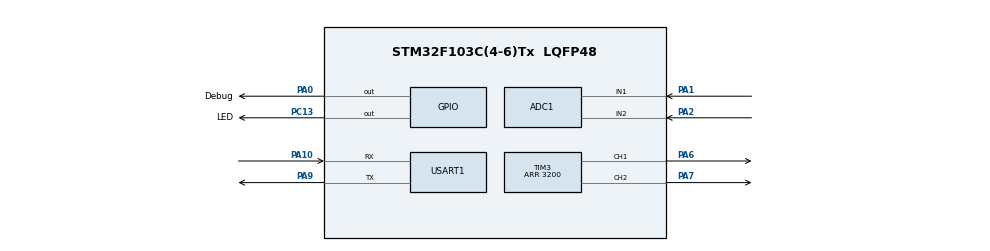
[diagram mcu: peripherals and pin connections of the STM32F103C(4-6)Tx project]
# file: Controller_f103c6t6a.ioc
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ADC1.Channel-3\#ChannelRegularConversion=ADC_CHANNEL_1
ADC1.Channel-4\#ChannelInjectedConversion=ADC_CHANNEL_1
ADC1.Channel-5\#ChannelInjectedConversion=ADC_CHANNEL_2
ADC1.EnableInjectedConversion=ENABLE
ADC1.EnableRegularConversion=ENABLE
ADC1.ExternalTrigConv=ADC_EXTERNALTRIGCONV_T3_TRGO
ADC1.InjNumberOfConversion=2
ADC1.InjectedConvMode=AutoInjected
ADC1.InjectedOffset-4\#ChannelInjectedConversion=0
ADC1.InjectedOffset-5\#ChannelInjectedConversion=0
ADC1.InjectedRank-4\#ChannelInjectedConversion=1
ADC1.InjectedRank-5\#ChannelInjectedConversion=2
ADC1.NbrOfConversion=1
ADC1.NbrOfConversionFlag=1
ADC1.Rank-3\#ChannelRegularConversion=1
ADC1.SamplingTime-3\#ChannelRegularConversion=ADC_SAMPLETIME_1CYCLE_5
ADC1.SamplingTime-4\#ChannelInjectedConversion=ADC_SAMPLETIME_1CYCLE_5
ADC1.SamplingTime-5\#ChannelInjectedConversion=ADC_SAMPLETIME_1CYCLE_5
ADC1.master=1
Mcu.Family=STM32F1
Mcu.Name=STM32F103C(4-6)Tx
Mcu.Package=LQFP48
NVIC.PriorityGroup=NVIC_PRIORITYGROUP_4
NVIC.TIM3_IRQn=true\:2\:0\:true\:false\:true\:true\:true\:true
NVIC.USART1_IRQn=true\:7\:0\:true\:false\:true\:true\:true\:true
PA0-WKUP.GPIO_Label=Debug
PA0-WKUP.Signal=GPIO_Output
PA1.Signal=ADCx_IN1
PA10.Mode=Asynchronous
PA10.Signal=USART1_RX
PA13.Mode=Serial_Wire
PA13.Signal=SYS_JTMS-SWDIO
PA14.Mode=Serial_Wire
PA14.Signal=SYS_JTCK-SWCLK
PA2.Signal=ADCx_IN2
PA6.Signal=S_TIM3_CH1
PA7.Signal=S_TIM3_CH2
PA9.Mode=Asynchronous
PA9.Signal=USART1_TX
PC13-TAMPER-RTC.GPIO_Label=LED
PC13-TAMPER-RTC.PinState=GPIO_PIN_RESET
PC13-TAMPER-RTC.Signal=GPIO_Output
PD0-OSC_IN.Mode=HSE-External-Oscillator
PD0-OSC_IN.Signal=RCC_OSC_IN
PD1-OSC_OUT.Mode=HSE-External-Oscillator
PD1-OSC_OUT.Signal=RCC_OSC_OUT
ProjectManager.HeapSize=0x200
ProjectManager.StackSize=0x400
ProjectManager.TargetToolchain=STM32CubeIDE
RCC.ADCPresc=RCC_ADCPCLK2_DIV8
RCC.AHBFreq_Value=64000000
RCC.APB1CLKDivider=RCC_HCLK_DIV2
RCC.APB1Freq_Value=32000000
RCC.APB1TimFreq_Value=64000000
RCC.APB2Freq_Value=64000000
RCC.APB2TimFreq_Value=64000000
RCC.HCLKFreq_Value=64000000
RCC.PLLMUL=RCC_PLL_MUL8
RCC.PLLSourceVirtual=RCC_PLLSOURCE_HSE
RCC.SYSCLKFreq_VALUE=64000000
RCC.SYSCLKSource=RCC_SYSCLKSOURCE_PLLCLK
RCC.USBFreq_Value=64000000
SH.ADCx_IN1.0=ADC1_IN1,IN1
SH.ADCx_IN2.0=ADC1_IN2,IN2
SH.S_TIM3_CH1.0=TIM3_CH1,PWM Generation1 CH1
SH.S_TIM3_CH2.0=TIM3_CH2,PWM Generation2 CH2
TIM3.Channel-PWM\ Generation1\ CH1=TIM_CHANNEL_1
TIM3.Channel-PWM\ Generation2\ CH2=TIM_CHANNEL_2
TIM3.OCMode_PWM-PWM\ Generation1\ CH1=TIM_OCMODE_PWM1
TIM3.OCMode_PWM-PWM\ Generation2\ CH2=TIM_OCMODE_PWM1
TIM3.Period=3200
TIM3.Pulse-PWM\ Generation1\ CH1=0
TIM3.TIM_MasterOutputTrigger=TIM_TRGO_UPDATE
USART1.VirtualMode=VM_ASYNC
VP_TIM3_VS_ClockSourceINT.Mode=Internal
board=custom

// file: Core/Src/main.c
/* USER CODE BEGIN Header */
/**
  ******************************************************************************
  * @file           : main.c
  * @brief          : Main program body
  ******************************************************************************
  * @attention
  *
  * Copyright (c) 2026 STMicroelectronics.
  * All rights reserved.
  *
  * This software is licensed under terms that can be found in the LICENSE file
  * in the root directory of this software component.
  * If no LICENSE file comes with this software, it is provided AS-IS.
  *
  ******************************************************************************
  */
/* USER CODE END Header */
#include "main.h"

/* USER CODE BEGIN Includes */
#include <stdint.h>
#include <string.h>
#include <stdlib.h>
/* USER CODE END Includes */

UART_HandleTypeDef huart1;

/* USER CODE BEGIN PV */
pulse_t pulse_data;
control_t control_data;
/* USER CODE END PV */

void SystemClock_Config(void);
static void MX_GPIO_Init(void);
static void MX_USART1_UART_Init(void);
static void MX_TIM3_Init(void);
static void MX_ADC1_Init(void);

/* USER CODE BEGIN 0 */
static void uart_print(UART_HandleTypeDef *huart, uint8_t *pData, uint16_t Size){
	HAL_UART_Transmit_IT(huart, pData, Size);
	//Wait until complete, as HAL_UART_Transmit_IT doesn't seem to copy the pData contents
	while(   HAL_UART_GetState(huart) != HAL_UART_STATE_READY ){
	}
}

static void uart_printstr(UART_HandleTypeDef *huart, char *str){
	size_t len;
	len = strlen(str);
	uart_print(huart, (uint8_t*)str, len);
}

void main_ctrl(void){

	//*** Generate output pulse ***
	if(pulse_data.state==ssi_state_idle){
		if(pulse_data.start){
			pulse_data.remain = pulse_data.len;
			pulse_data.state=ssi_state_run;
		}

	}
	else if(pulse_data.state==ssi_state_run){
		if(pulse_data.remain > 3200){
			LL_TIM_OC_SetCompareCH1(TIM3, 3201);
			pulse_data.remain -= 3200;
		}
		else {
			LL_TIM_OC_SetCompareCH1(TIM3, pulse_data.remain);
			pulse_data.remain = 0;
			pulse_data.state=ssi_state_ready;
		}
	}
	else if(pulse_data.state==ssi_state_ready){
		LL_TIM_OC_SetCompareCH1(TIM3, 0);
		pulse_data.start = 0;
		pulse_data.state = ssi_state_idle;
	}

	// *** Set v_Ref PWM duty cycle ***
	LL_TIM_OC_SetCompareCH2(TIM3, control_data.pwm_vref);

	uint16_t adc_timeout = 0;
	//currently no regular conversion used
	//regular conversion is only enabled because injected conversion is auto-triggered
	//at end of regular conversions
	//while(!LL_ADC_IsActiveFlag_EOS(ADC1)){
	//	//Error after certain time, if adc will not get ready!, stop PWM!
	//	if (adc_timeout >= 10) {
	//		//ERROR!!
	//	}
	//	else {
	//		adc_timeout++;
	//	}
	//}
	//get ADC value and switch to next channel
	//if(control_data.adc_ch == 0){
	//	value = (int16_t) LL_ADC_REG_ReadConversionData12(ADC1);
	//	LL_ADC_REG_SetSequencerRanks(ADC1, LL_ADC_REG_RANK_1, LL_ADC_CHANNEL_2);
	//	control_data.adc_ch = 1;
	//}
	//else {
	//	value = (int16_t) LL_ADC_REG_ReadConversionData12(ADC1);
	//	LL_ADC_REG_SetSequencerRanks(ADC1, LL_ADC_REG_RANK_1, LL_ADC_CHANNEL_1);
	//	control_data.adc_ch = 0;
	//}

	while(!LL_ADC_IsActiveFlag_JEOS(ADC1)){
		//Error after certain time, if adc will not get ready!, stop PWM!
		if (adc_timeout >= 10) {
			//ERROR!!
		}
		else {
			adc_timeout++;
		}
	}
	control_data.adc_data_v0 = (int16_t) LL_ADC_INJ_ReadConversionData12(ADC1, LL_ADC_INJ_RANK_1);
	control_data.adc_data_v1 = (int16_t) LL_ADC_INJ_ReadConversionData12(ADC1, LL_ADC_INJ_RANK_2);
}

/* USER CODE END 0 */

int main(void)
{

  /* MCU Configuration--------------------------------------------------------*/

  /* Reset of all peripherals, Initializes the Flash interface and the Systick. */
  HAL_Init();

  /* Configure the system clock */
  SystemClock_Config();

  /* Initialize all configured peripherals */
  MX_GPIO_Init();
  MX_USART1_UART_Init();
  MX_TIM3_Init();
  MX_ADC1_Init();
  /* USER CODE BEGIN 2 */

  uart_printstr(&huart1, "Marble Accelerator Interface\r\n");
  uart_printstr(&huart1, "MT-Labor, IEM, THM 2026\r\n");
  //int encpos = -100;

  pulse_data.state = ssi_state_idle;

  control_data.vCapRef = 24.5f;  //V
  control_data.vCapTol = 0.5f;   //V
  control_data.pulseLen = 10.0f; //ms
  control_data.pulseRep = 10.0f;  //s
  control_data.voltok = 2.0f;     //s
  control_data.active = 1;

  LL_ADC_Enable(ADC1);
  LL_ADC_REG_StartConversionExtTrig(ADC1, LL_ADC_REG_TRIG_EXT_RISING);

  LL_TIM_EnableCounter(TIM3);
  LL_TIM_CC_EnableChannel(TIM3, LL_TIM_CHANNEL_CH1);
  LL_TIM_CC_EnableChannel(TIM3, LL_TIM_CHANNEL_CH2);
  LL_TIM_EnableIT_UPDATE(TIM3);

  /* USER CODE END 2 */

  /* Infinite loop */
  while (1)
  {

    /* USER CODE BEGIN 3 */

	  control_data.pwm_vref = (4096.0f/3.3f) * (1.563f - 0.0625f*control_data.vCapRef);
	  control_data.vCap = control_data.adc_data_v0*(3.3f/4096.0f)*10.1f  * 1.027;  //1.027 is adjustment factor

	  uint32_t puls_len_pwm = control_data.pulseLen*(3200.0f*20.0f);
	  if(puls_len_pwm > 3200*20*100) puls_len_pwm = 3200*20*100;
	  pulse_data.len = puls_len_pwm;

	  LL_GPIO_SetOutputPin(LED_GPIO_Port, LED_Pin);
	  LL_mDelay(80);
	  LL_GPIO_ResetOutputPin(LED_GPIO_Port, LED_Pin);
	  LL_mDelay(20);

	  float pulsrepcycle = control_data.pulseRep*10.0f;
	  float voltokcycle = control_data.voltok*10.0f;
	  if (pulsrepcycle < 5.0f) pulsrepcycle =  5.0f;    //min 0.5
	  if (pulsrepcycle > 1000.0f) pulsrepcycle = 1000.0f; //max 100s

	  if(control_data.rep_cnt > pulsrepcycle) control_data.rep_cnt = pulsrepcycle;

	  if( (control_data.vCap < (control_data.vCapRef-control_data.vCapTol)) || (control_data.vCap > (control_data.vCapRef+control_data.vCapTol)) ){
		  if(control_data.rep_cnt < voltokcycle){
			  control_data.rep_cnt=voltokcycle;
		  }
	  }

	  if(control_data.rep_cnt > 0){
		  control_data.rep_cnt--;
	  }
	  else{
		  if (control_data.active){
			  pulse_data.start = 1;
			  control_data.rep_cnt = pulsrepcycle;
		  }
	  }

	  char sval[10];
	  itoa(control_data.adc_data_v0, sval, 10); //Base 10 (dec)  //dummy data
	  //itoa(encpos, sval, 16); //Base 16 (hex)
	  //todo leading zeros:
	  //Let itoa() convert
	  //into a temporary buffer, determine the difference between
	  //your target space and strlen(buffer), fill that amount of
	  //zeros into the target space, and then strcpy the buffer
	  //over to target space.

	  uart_printstr(&huart1, sval);
	  uart_printstr(&huart1, "\r\n");

	  //encpos++;
  }
  /* USER CODE END 3 */
}

void SystemClock_Config(void)
{
  LL_FLASH_SetLatency(LL_FLASH_LATENCY_2);
  while(LL_FLASH_GetLatency()!= LL_FLASH_LATENCY_2)
  {
  }
  LL_RCC_HSE_Enable();

   /* Wait till HSE is ready */
  while(LL_RCC_HSE_IsReady() != 1)
  {

  }
  LL_RCC_PLL_ConfigDomain_SYS(LL_RCC_PLLSOURCE_HSE_DIV_1, LL_RCC_PLL_MUL_8);
  LL_RCC_PLL_Enable();

   /* Wait till PLL is ready */
  while(LL_RCC_PLL_IsReady() != 1)
  {

  }
  LL_RCC_SetAHBPrescaler(LL_RCC_SYSCLK_DIV_1);
  LL_RCC_SetAPB1Prescaler(LL_RCC_APB1_DIV_2);
  LL_RCC_SetAPB2Prescaler(LL_RCC_APB2_DIV_1);
  LL_RCC_SetSysClkSource(LL_RCC_SYS_CLKSOURCE_PLL);

   /* Wait till System clock is ready */
  while(LL_RCC_GetSysClkSource() != LL_RCC_SYS_CLKSOURCE_STATUS_PLL)
  {

  }
  LL_SetSystemCoreClock(64000000);

   /* Update the time base */
  if (HAL_InitTick (TICK_INT_PRIORITY) != HAL_OK)
  {
    Error_Handler();
  }
  LL_RCC_SetADCClockSource(LL_RCC_ADC_CLKSRC_PCLK2_DIV_8);
}

static void MX_ADC1_Init(void)
{

  LL_ADC_InitTypeDef ADC_InitStruct = {0};
  LL_ADC_CommonInitTypeDef ADC_CommonInitStruct = {0};
  LL_ADC_REG_InitTypeDef ADC_REG_InitStruct = {0};
  LL_ADC_INJ_InitTypeDef ADC_INJ_InitStruct = {0};

  LL_GPIO_InitTypeDef GPIO_InitStruct = {0};

  /* Peripheral clock enable */
  LL_APB2_GRP1_EnableClock(LL_APB2_GRP1_PERIPH_ADC1);

  LL_APB2_GRP1_EnableClock(LL_APB2_GRP1_PERIPH_GPIOA);
  /**ADC1 GPIO Configuration
  PA1   ------> ADC1_IN1
  PA2   ------> ADC1_IN2
  */
  GPIO_InitStruct.Pin = LL_GPIO_PIN_1|LL_GPIO_PIN_2;
  GPIO_InitStruct.Mode = LL_GPIO_MODE_ANALOG;
  LL_GPIO_Init(GPIOA, &GPIO_InitStruct);

  /** Common config
  */
  ADC_InitStruct.DataAlignment = LL_ADC_DATA_ALIGN_RIGHT;
  ADC_InitStruct.SequencersScanMode = LL_ADC_SEQ_SCAN_ENABLE;
  LL_ADC_Init(ADC1, &ADC_InitStruct);
  ADC_CommonInitStruct.Multimode = LL_ADC_MULTI_INDEPENDENT;
  LL_ADC_CommonInit(__LL_ADC_COMMON_INSTANCE(ADC1), &ADC_CommonInitStruct);
  ADC_REG_InitStruct.TriggerSource = LL_ADC_REG_TRIG_EXT_TIM3_TRGO;
  ADC_REG_InitStruct.SequencerLength = LL_ADC_REG_SEQ_SCAN_DISABLE;
  ADC_REG_InitStruct.SequencerDiscont = LL_ADC_REG_SEQ_DISCONT_DISABLE;
  ADC_REG_InitStruct.ContinuousMode = LL_ADC_REG_CONV_SINGLE;
  ADC_REG_InitStruct.DMATransfer = LL_ADC_REG_DMA_TRANSFER_NONE;
  LL_ADC_REG_Init(ADC1, &ADC_REG_InitStruct);
  ADC_INJ_InitStruct.TriggerSource = LL_ADC_INJ_TRIG_SOFTWARE;
  ADC_INJ_InitStruct.SequencerLength = LL_ADC_INJ_SEQ_SCAN_ENABLE_2RANKS;
  ADC_INJ_InitStruct.SequencerDiscont = LL_ADC_INJ_SEQ_DISCONT_DISABLE;
  ADC_INJ_InitStruct.TrigAuto = LL_ADC_INJ_TRIG_FROM_GRP_REGULAR;
  LL_ADC_INJ_Init(ADC1, &ADC_INJ_InitStruct);

  /** Configure Regular Channel
  */
  LL_ADC_REG_SetSequencerRanks(ADC1, LL_ADC_REG_RANK_1, LL_ADC_CHANNEL_1);
  LL_ADC_SetChannelSamplingTime(ADC1, LL_ADC_CHANNEL_1, LL_ADC_SAMPLINGTIME_1CYCLE_5);

  /** Configure Injected Channel
  */
  LL_ADC_INJ_SetSequencerRanks(ADC1, LL_ADC_INJ_RANK_1, LL_ADC_CHANNEL_1);
  LL_ADC_SetChannelSamplingTime(ADC1, LL_ADC_CHANNEL_1, LL_ADC_SAMPLINGTIME_1CYCLE_5);
  LL_ADC_INJ_SetOffset(ADC1, LL_ADC_INJ_RANK_1, 0);

  /** Configure Injected Channel
  */
  LL_ADC_INJ_SetSequencerRanks(ADC1, LL_ADC_INJ_RANK_2, LL_ADC_CHANNEL_2);
  LL_ADC_SetChannelSamplingTime(ADC1, LL_ADC_CHANNEL_2, LL_ADC_SAMPLINGTIME_1CYCLE_5);
  LL_ADC_INJ_SetOffset(ADC1, LL_ADC_INJ_RANK_2, 0);

}

static void MX_TIM3_Init(void)
{

  LL_TIM_InitTypeDef TIM_InitStruct = {0};
  LL_TIM_OC_InitTypeDef TIM_OC_InitStruct = {0};

  LL_GPIO_InitTypeDef GPIO_InitStruct = {0};

  /* Peripheral clock enable */
  LL_APB1_GRP1_EnableClock(LL_APB1_GRP1_PERIPH_TIM3);

  /* TIM3 interrupt Init */
  NVIC_SetPriority(TIM3_IRQn, NVIC_EncodePriority(NVIC_GetPriorityGrouping(),2, 0));
  NVIC_EnableIRQ(TIM3_IRQn);

  TIM_InitStruct.Prescaler = 0;
  TIM_InitStruct.CounterMode = LL_TIM_COUNTERMODE_UP;
  TIM_InitStruct.Autoreload = 3200;
  TIM_InitStruct.ClockDivision = LL_TIM_CLOCKDIVISION_DIV1;
  LL_TIM_Init(TIM3, &TIM_InitStruct);
  LL_TIM_DisableARRPreload(TIM3);
  LL_TIM_SetClockSource(TIM3, LL_TIM_CLOCKSOURCE_INTERNAL);
  LL_TIM_OC_EnablePreload(TIM3, LL_TIM_CHANNEL_CH1);
  TIM_OC_InitStruct.OCMode = LL_TIM_OCMODE_PWM1;
  TIM_OC_InitStruct.OCState = LL_TIM_OCSTATE_DISABLE;
  TIM_OC_InitStruct.OCNState = LL_TIM_OCSTATE_DISABLE;
  TIM_OC_InitStruct.CompareValue = 0;
  TIM_OC_InitStruct.OCPolarity = LL_TIM_OCPOLARITY_HIGH;
  LL_TIM_OC_Init(TIM3, LL_TIM_CHANNEL_CH1, &TIM_OC_InitStruct);
  LL_TIM_OC_DisableFast(TIM3, LL_TIM_CHANNEL_CH1);
  LL_TIM_OC_EnablePreload(TIM3, LL_TIM_CHANNEL_CH2);
  LL_TIM_OC_Init(TIM3, LL_TIM_CHANNEL_CH2, &TIM_OC_InitStruct);
  LL_TIM_OC_DisableFast(TIM3, LL_TIM_CHANNEL_CH2);
  LL_TIM_SetTriggerOutput(TIM3, LL_TIM_TRGO_UPDATE);
  LL_TIM_DisableMasterSlaveMode(TIM3);
  LL_APB2_GRP1_EnableClock(LL_APB2_GRP1_PERIPH_GPIOA);
  /**TIM3 GPIO Configuration
  PA6   ------> TIM3_CH1
  PA7   ------> TIM3_CH2
  */
  GPIO_InitStruct.Pin = LL_GPIO_PIN_6|LL_GPIO_PIN_7;
  GPIO_InitStruct.Mode = LL_GPIO_MODE_ALTERNATE;
  GPIO_InitStruct.Speed = LL_GPIO_SPEED_FREQ_LOW;
  GPIO_InitStruct.OutputType = LL_GPIO_OUTPUT_PUSHPULL;
  LL_GPIO_Init(GPIOA, &GPIO_InitStruct);

}

static void MX_USART1_UART_Init(void)
{

  huart1.Instance = USART1;
  huart1.Init.BaudRate = 115200;
  huart1.Init.WordLength = UART_WORDLENGTH_8B;
  huart1.Init.StopBits = UART_STOPBITS_1;
  huart1.Init.Parity = UART_PARITY_NONE;
  huart1.Init.Mode = UART_MODE_TX_RX;
  huart1.Init.HwFlowCtl = UART_HWCONTROL_NONE;
  huart1.Init.OverSampling = UART_OVERSAMPLING_16;
  if (HAL_UART_Init(&huart1) != HAL_OK)
  {
    Error_Handler();
  }

}

static void MX_GPIO_Init(void)
{
  LL_GPIO_InitTypeDef GPIO_InitStruct = {0};

  /* GPIO Ports Clock Enable */
  LL_APB2_GRP1_EnableClock(LL_APB2_GRP1_PERIPH_GPIOC);
  LL_APB2_GRP1_EnableClock(LL_APB2_GRP1_PERIPH_GPIOD);
  LL_APB2_GRP1_EnableClock(LL_APB2_GRP1_PERIPH_GPIOA);

  /**/
  LL_GPIO_ResetOutputPin(LED_GPIO_Port, LED_Pin);

  /**/
  LL_GPIO_ResetOutputPin(Debug_GPIO_Port, Debug_Pin);

  /**/
  GPIO_InitStruct.Pin = LED_Pin;
  GPIO_InitStruct.Mode = LL_GPIO_MODE_OUTPUT;
  GPIO_InitStruct.Speed = LL_GPIO_SPEED_FREQ_LOW;
  GPIO_InitStruct.OutputType = LL_GPIO_OUTPUT_PUSHPULL;
  LL_GPIO_Init(LED_GPIO_Port, &GPIO_InitStruct);

  /**/
  GPIO_InitStruct.Pin = Debug_Pin;
  GPIO_InitStruct.Mode = LL_GPIO_MODE_OUTPUT;
  GPIO_InitStruct.Speed = LL_GPIO_SPEED_FREQ_LOW;
  GPIO_InitStruct.OutputType = LL_GPIO_OUTPUT_PUSHPULL;
  LL_GPIO_Init(Debug_GPIO_Port, &GPIO_InitStruct);

}

void Error_Handler(void)
{
  __disable_irq();
  while (1)
  {
  }
}
